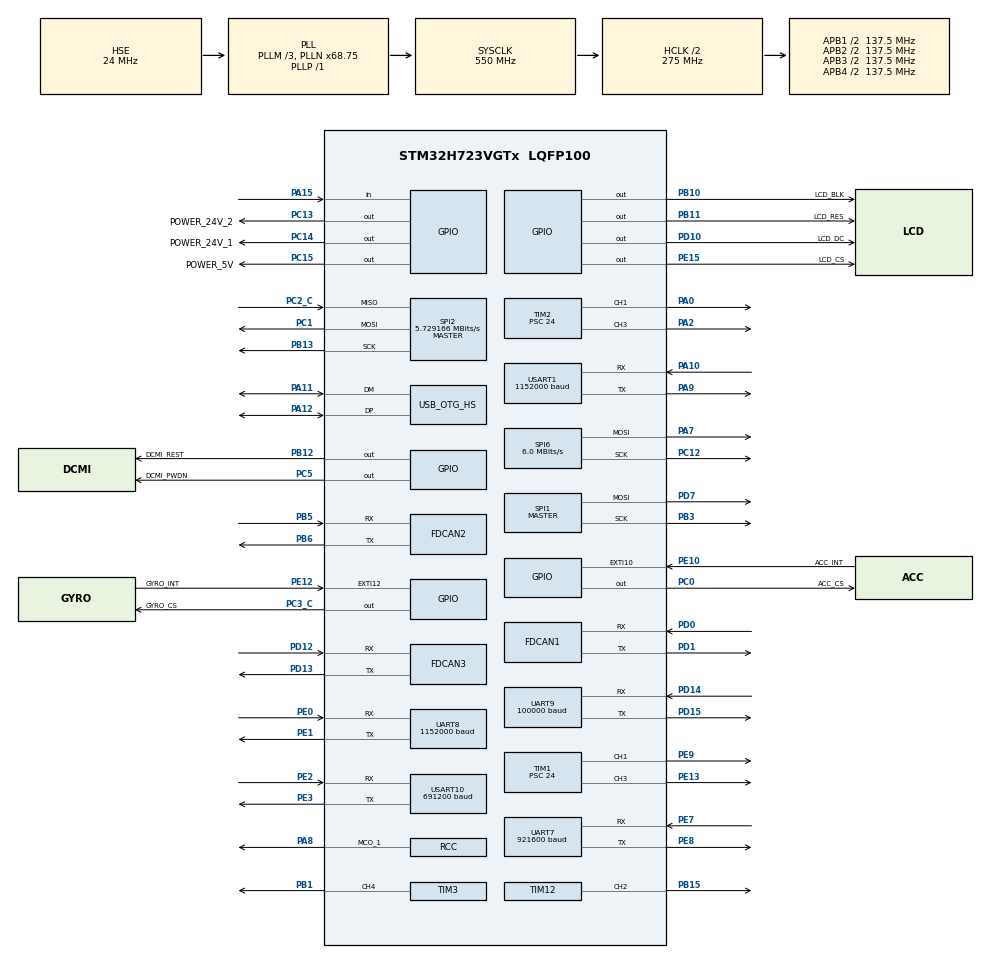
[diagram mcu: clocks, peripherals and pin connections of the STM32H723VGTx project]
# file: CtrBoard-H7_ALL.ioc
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CORTEX_M7.CPU_DCache=Enabled
CORTEX_M7.CPU_ICache=Enabled
Dma.Request0=UART7_TX
Dma.Request1=UART7_RX
Dma.Request2=USART1_RX
Dma.Request3=USART1_TX
Dma.Request4=UART9_RX
Dma.Request5=UART8_RX
Dma.Request6=UART8_TX
Dma.Request7=USART10_RX
Dma.Request8=USART10_TX
Dma.UART7_RX.1.Direction=DMA_PERIPH_TO_MEMORY
Dma.UART7_RX.1.EventEnable=DISABLE
Dma.UART7_RX.1.FIFOMode=DMA_FIFOMODE_DISABLE
Dma.UART7_RX.1.Instance=DMA1_Stream2
Dma.UART7_RX.1.MemDataAlignment=DMA_MDATAALIGN_BYTE
Dma.UART7_RX.1.MemInc=DMA_MINC_ENABLE
Dma.UART7_RX.1.Mode=DMA_CIRCULAR
Dma.UART7_RX.1.PeriphDataAlignment=DMA_PDATAALIGN_BYTE
Dma.UART7_RX.1.PeriphInc=DMA_PINC_DISABLE
Dma.UART7_RX.1.Polarity=HAL_DMAMUX_REQ_GEN_RISING
Dma.UART7_RX.1.Priority=DMA_PRIORITY_LOW
Dma.UART7_RX.1.RequestNumber=1
Dma.UART7_RX.1.SignalID=NONE
Dma.UART7_RX.1.SyncEnable=DISABLE
Dma.UART7_RX.1.SyncPolarity=HAL_DMAMUX_SYNC_NO_EVENT
Dma.UART7_RX.1.SyncRequestNumber=1
Dma.UART7_RX.1.SyncSignalID=NONE
Dma.UART7_TX.0.Direction=DMA_MEMORY_TO_PERIPH
Dma.UART7_TX.0.EventEnable=DISABLE
Dma.UART7_TX.0.FIFOMode=DMA_FIFOMODE_DISABLE
Dma.UART7_TX.0.Instance=DMA1_Stream1
Dma.UART7_TX.0.MemDataAlignment=DMA_MDATAALIGN_BYTE
Dma.UART7_TX.0.MemInc=DMA_MINC_ENABLE
Dma.UART7_TX.0.Mode=DMA_CIRCULAR
Dma.UART7_TX.0.PeriphDataAlignment=DMA_PDATAALIGN_BYTE
Dma.UART7_TX.0.PeriphInc=DMA_PINC_DISABLE
Dma.UART7_TX.0.Polarity=HAL_DMAMUX_REQ_GEN_RISING
Dma.UART7_TX.0.Priority=DMA_PRIORITY_LOW
Dma.UART7_TX.0.RequestNumber=1
Dma.UART7_TX.0.SignalID=NONE
Dma.UART7_TX.0.SyncEnable=DISABLE
Dma.UART7_TX.0.SyncPolarity=HAL_DMAMUX_SYNC_NO_EVENT
Dma.UART7_TX.0.SyncRequestNumber=1
Dma.UART7_TX.0.SyncSignalID=NONE
Dma.UART8_RX.5.Direction=DMA_PERIPH_TO_MEMORY
Dma.UART8_RX.5.EventEnable=DISABLE
Dma.UART8_RX.5.FIFOMode=DMA_FIFOMODE_DISABLE
Dma.UART8_RX.5.Instance=DMA1_Stream5
Dma.UART8_RX.5.MemDataAlignment=DMA_MDATAALIGN_BYTE
Dma.UART8_RX.5.MemInc=DMA_MINC_ENABLE
Dma.UART8_RX.5.Mode=DMA_CIRCULAR
Dma.UART8_RX.5.PeriphDataAlignment=DMA_PDATAALIGN_BYTE
Dma.UART8_RX.5.PeriphInc=DMA_PINC_DISABLE
Dma.UART8_RX.5.Polarity=HAL_DMAMUX_REQ_GEN_RISING
Dma.UART8_RX.5.Priority=DMA_PRIORITY_LOW
Dma.UART8_RX.5.RequestNumber=1
Dma.UART8_RX.5.SignalID=NONE
Dma.UART8_RX.5.SyncEnable=DISABLE
Dma.UART8_RX.5.SyncPolarity=HAL_DMAMUX_SYNC_NO_EVENT
Dma.UART8_RX.5.SyncRequestNumber=1
Dma.UART8_RX.5.SyncSignalID=NONE
Dma.UART8_TX.6.Direction=DMA_MEMORY_TO_PERIPH
Dma.UART8_TX.6.EventEnable=DISABLE
Dma.UART8_TX.6.FIFOMode=DMA_FIFOMODE_DISABLE
Dma.UART8_TX.6.Instance=DMA1_Stream7
Dma.UART8_TX.6.MemDataAlignment=DMA_MDATAALIGN_BYTE
Dma.UART8_TX.6.MemInc=DMA_MINC_ENABLE
Dma.UART8_TX.6.Mode=DMA_NORMAL
Dma.UART8_TX.6.PeriphDataAlignment=DMA_PDATAALIGN_BYTE
Dma.UART8_TX.6.PeriphInc=DMA_PINC_DISABLE
Dma.UART8_TX.6.Polarity=HAL_DMAMUX_REQ_GEN_RISING
Dma.UART8_TX.6.Priority=DMA_PRIORITY_LOW
Dma.UART8_TX.6.RequestNumber=1
Dma.UART8_TX.6.SignalID=NONE
Dma.UART8_TX.6.SyncEnable=DISABLE
Dma.UART8_TX.6.SyncPolarity=HAL_DMAMUX_SYNC_NO_EVENT
Dma.UART8_TX.6.SyncRequestNumber=1
Dma.UART8_TX.6.SyncSignalID=NONE
Dma.UART9_RX.4.Direction=DMA_PERIPH_TO_MEMORY
Dma.UART9_RX.4.EventEnable=DISABLE
Dma.UART9_RX.4.FIFOMode=DMA_FIFOMODE_DISABLE
Dma.UART9_RX.4.Instance=DMA1_Stream4
Dma.UART9_RX.4.MemDataAlignment=DMA_MDATAALIGN_BYTE
Dma.UART9_RX.4.MemInc=DMA_MINC_ENABLE
Dma.UART9_RX.4.Mode=DMA_CIRCULAR
Dma.UART9_RX.4.PeriphDataAlignment=DMA_PDATAALIGN_BYTE
Dma.UART9_RX.4.PeriphInc=DMA_PINC_DISABLE
Dma.UART9_RX.4.Polarity=HAL_DMAMUX_REQ_GEN_RISING
Dma.UART9_RX.4.Priority=DMA_PRIORITY_LOW
Dma.UART9_RX.4.RequestNumber=1
Dma.UART9_RX.4.SignalID=NONE
Dma.UART9_RX.4.SyncEnable=DISABLE
Dma.UART9_RX.4.SyncPolarity=HAL_DMAMUX_SYNC_NO_EVENT
Dma.UART9_RX.4.SyncRequestNumber=1
Dma.UART9_RX.4.SyncSignalID=NONE
Dma.USART10_RX.7.Direction=DMA_PERIPH_TO_MEMORY
Dma.USART10_RX.7.EventEnable=DISABLE
Dma.USART10_RX.7.FIFOMode=DMA_FIFOMODE_DISABLE
Dma.USART10_RX.7.Instance=DMA1_Stream0
Dma.USART10_RX.7.MemDataAlignment=DMA_MDATAALIGN_BYTE
Dma.USART10_RX.7.MemInc=DMA_MINC_ENABLE
Dma.USART10_RX.7.Mode=DMA_CIRCULAR
Dma.USART10_RX.7.PeriphDataAlignment=DMA_PDATAALIGN_BYTE
Dma.USART10_RX.7.PeriphInc=DMA_PINC_DISABLE
Dma.USART10_RX.7.Polarity=HAL_DMAMUX_REQ_GEN_RISING
Dma.USART10_RX.7.Priority=DMA_PRIORITY_LOW
Dma.USART10_RX.7.RequestNumber=1
Dma.USART10_RX.7.SignalID=NONE
Dma.USART10_RX.7.SyncEnable=DISABLE
Dma.USART10_RX.7.SyncPolarity=HAL_DMAMUX_SYNC_NO_EVENT
Dma.USART10_RX.7.SyncRequestNumber=1
Dma.USART10_RX.7.SyncSignalID=NONE
Dma.USART10_TX.8.Direction=DMA_MEMORY_TO_PERIPH
Dma.USART10_TX.8.EventEnable=DISABLE
Dma.USART10_TX.8.FIFOMode=DMA_FIFOMODE_DISABLE
Dma.USART10_TX.8.Instance=DMA2_Stream0
Dma.USART10_TX.8.MemDataAlignment=DMA_MDATAALIGN_BYTE
Dma.USART10_TX.8.MemInc=DMA_MINC_ENABLE
Dma.USART10_TX.8.Mode=DMA_NORMAL
Dma.USART10_TX.8.PeriphDataAlignment=DMA_PDATAALIGN_BYTE
Dma.USART10_TX.8.PeriphInc=DMA_PINC_DISABLE
Dma.USART10_TX.8.Polarity=HAL_DMAMUX_REQ_GEN_RISING
Dma.USART10_TX.8.Priority=DMA_PRIORITY_LOW
Dma.USART10_TX.8.RequestNumber=1
Dma.USART10_TX.8.SignalID=NONE
Dma.USART10_TX.8.SyncEnable=DISABLE
Dma.USART10_TX.8.SyncPolarity=HAL_DMAMUX_SYNC_NO_EVENT
Dma.USART10_TX.8.SyncRequestNumber=1
Dma.USART10_TX.8.SyncSignalID=NONE
Dma.USART1_RX.2.Direction=DMA_PERIPH_TO_MEMORY
Dma.USART1_RX.2.EventEnable=DISABLE
Dma.USART1_RX.2.FIFOMode=DMA_FIFOMODE_DISABLE
Dma.USART1_RX.2.Instance=DMA1_Stream3
Dma.USART1_RX.2.MemDataAlignment=DMA_MDATAALIGN_BYTE
Dma.USART1_RX.2.MemInc=DMA_MINC_ENABLE
Dma.USART1_RX.2.Mode=DMA_CIRCULAR
Dma.USART1_RX.2.PeriphDataAlignment=DMA_PDATAALIGN_BYTE
Dma.USART1_RX.2.PeriphInc=DMA_PINC_DISABLE
Dma.USART1_RX.2.Polarity=HAL_DMAMUX_REQ_GEN_RISING
Dma.USART1_RX.2.Priority=DMA_PRIORITY_LOW
Dma.USART1_RX.2.RequestNumber=1
Dma.USART1_RX.2.SignalID=NONE
Dma.USART1_RX.2.SyncEnable=DISABLE
Dma.USART1_RX.2.SyncPolarity=HAL_DMAMUX_SYNC_NO_EVENT
Dma.USART1_RX.2.SyncRequestNumber=1
Dma.USART1_RX.2.SyncSignalID=NONE
Dma.USART1_TX.3.Direction=DMA_MEMORY_TO_PERIPH
Dma.USART1_TX.3.EventEnable=DISABLE
Dma.USART1_TX.3.FIFOMode=DMA_FIFOMODE_DISABLE
Dma.USART1_TX.3.Instance=DMA1_Stream6
Dma.USART1_TX.3.MemDataAlignment=DMA_MDATAALIGN_BYTE
Dma.USART1_TX.3.MemInc=DMA_MINC_ENABLE
Dma.USART1_TX.3.Mode=DMA_NORMAL
Dma.USART1_TX.3.PeriphDataAlignment=DMA_PDATAALIGN_BYTE
Dma.USART1_TX.3.PeriphInc=DMA_PINC_DISABLE
Dma.USART1_TX.3.Polarity=HAL_DMAMUX_REQ_GEN_RISING
Dma.USART1_TX.3.Priority=DMA_PRIORITY_LOW
Dma.USART1_TX.3.RequestNumber=1
Dma.USART1_TX.3.SignalID=NONE
Dma.USART1_TX.3.SyncEnable=DISABLE
Dma.USART1_TX.3.SyncPolarity=HAL_DMAMUX_SYNC_NO_EVENT
Dma.USART1_TX.3.SyncRequestNumber=1
Dma.USART1_TX.3.SyncSignalID=NONE
FDCAN1.AutoRetransmission=ENABLE
FDCAN1.CalculateBaudRateNominal=1000000
FDCAN1.CalculateTimeBitNominal=1000
FDCAN1.CalculateTimeQuantumNominal=125.0
FDCAN1.DataPrescaler=3
FDCAN1.DataTimeSeg1=5
FDCAN1.DataTimeSeg2=2
FDCAN1.FrameFormat=FDCAN_FRAME_FD_BRS
FDCAN1.NominalPrescaler=3
FDCAN1.NominalTimeSeg1=5
FDCAN1.NominalTimeSeg2=2
FDCAN1.RxFifo0ElmtsNbr=32
FDCAN1.StdFiltersNbr=1
FDCAN1.TransmitPause=DISABLE
FDCAN1.TxFifoQueueElmtsNbr=32
FDCAN2.AutoRetransmission=ENABLE
FDCAN2.CalculateBaudRateNominal=1000000
FDCAN2.CalculateTimeBitNominal=1000
FDCAN2.CalculateTimeQuantumNominal=125.0
FDCAN2.DataPrescaler=3
FDCAN2.DataTimeSeg1=5
FDCAN2.DataTimeSeg2=2
FDCAN2.MessageRAMOffset=0x406
FDCAN2.NominalPrescaler=3
FDCAN2.NominalTimeSeg1=5
FDCAN2.NominalTimeSeg2=2
FDCAN2.RxFifo0ElmtsNbr=32
FDCAN2.StdFiltersNbr=1
FDCAN2.TxFifoQueueElmtsNbr=32
FDCAN3.AutoRetransmission=ENABLE
FDCAN3.CalculateBaudRateNominal=1000000
FDCAN3.CalculateTimeBitNominal=1000
FDCAN3.CalculateTimeQuantumNominal=125.0
FDCAN3.DataPrescaler=3
FDCAN3.DataTimeSeg1=5
FDCAN3.DataTimeSeg2=2
FDCAN3.FrameFormat=FDCAN_FRAME_CLASSIC
FDCAN3.MessageRAMOffset=0x812
FDCAN3.NominalPrescaler=3
FDCAN3.NominalTimeSeg1=5
FDCAN3.NominalTimeSeg2=2
FDCAN3.RxFifo0ElmtsNbr=32
FDCAN3.StdFiltersNbr=1
FDCAN3.TxFifoQueueElmtsNbr=32
FREERTOS.INCLUDE_eTaskGetState=1
FREERTOS.INCLUDE_pcTaskGetTaskName=1
FREERTOS.INCLUDE_uxTaskGetStackHighWaterMark=1
FREERTOS.INCLUDE_uxTaskGetStackHighWaterMark2=1
FREERTOS.INCLUDE_vTaskCleanUpResources=1
FREERTOS.INCLUDE_vTaskDelayUntil=1
FREERTOS.INCLUDE_xQueueGetMutexHolder=1
FREERTOS.INCLUDE_xSemaphoreGetMutexHolder=1
FREERTOS.INCLUDE_xTaskAbortDelay=1
FREERTOS.INCLUDE_xTaskGetCurrentTaskHandle=1
FREERTOS.INCLUDE_xTaskGetHandle=1
FREERTOS.INCLUDE_xTimerPendFunctionCall=1
FREERTOS.Tasks01=defaultTask,0,512,StartDefaultTask,Default,NULL,Dynamic,NULL,NULL;commTask,1,512,commTask_Entry,Default,NULL,Dynamic,NULL,NULL;imuTask,2,512,imuTask_Entry,Default,NULL,Dynamic,NULL,NULL;policyTask,2,2048,policyTask_Entry,Default,NULL,Dynamic,NULL,NULL;actuationTask,3,1024,actuationTask_Entry,Default,NULL,Dynamic,NULL,NULL
FREERTOS.configENABLE_FPU=1
FREERTOS.configTIMER_TASK_PRIORITY=2
FREERTOS.configTOTAL_HEAP_SIZE=30720
FREERTOS.configUSE_COUNTING_SEMAPHORES=1
FREERTOS.configUSE_RECURSIVE_MUTEXES=1
FREERTOS.configUSE_TIMERS=1
FREERTOS.configUSE_TRACE_FACILITY=0
Mcu.Family=STM32H7
Mcu.Name=STM32H723VGTx
Mcu.Package=LQFP100
NVIC.DMA1_Stream0_IRQn=true\:5\:0\:false\:false\:true\:true\:false\:true\:true
NVIC.DMA1_Stream1_IRQn=true\:5\:0\:false\:false\:true\:true\:false\:true\:true
NVIC.DMA1_Stream2_IRQn=true\:5\:0\:false\:false\:true\:true\:false\:true\:true
NVIC.DMA1_Stream3_IRQn=true\:5\:0\:false\:false\:true\:true\:false\:true\:true
NVIC.DMA1_Stream4_IRQn=true\:5\:0\:false\:false\:true\:true\:false\:true\:true
NVIC.DMA1_Stream5_IRQn=true\:5\:0\:false\:false\:true\:true\:false\:true\:true
NVIC.DMA1_Stream6_IRQn=true\:5\:0\:false\:false\:true\:true\:false\:true\:true
NVIC.DMA1_Stream7_IRQn=true\:5\:0\:false\:false\:true\:true\:false\:true\:true
NVIC.DMA2_Stream0_IRQn=true\:5\:0\:false\:false\:true\:true\:false\:true\:true
NVIC.FDCAN1_IT0_IRQn=true\:5\:0\:false\:false\:true\:true\:true\:true\:true
NVIC.FDCAN1_IT1_IRQn=true\:5\:0\:false\:false\:true\:true\:true\:true\:true
NVIC.FDCAN2_IT0_IRQn=true\:5\:0\:false\:false\:true\:true\:true\:true\:true
NVIC.FDCAN2_IT1_IRQn=true\:5\:0\:false\:false\:true\:true\:true\:true\:true
NVIC.FDCAN3_IT0_IRQn=true\:5\:0\:false\:false\:true\:true\:true\:true\:true
NVIC.FDCAN3_IT1_IRQn=true\:5\:0\:false\:false\:true\:true\:true\:true\:true
NVIC.OTG_HS_IRQn=true\:5\:0\:false\:false\:true\:true\:false\:true\:true
NVIC.PriorityGroup=NVIC_PRIORITYGROUP_4
NVIC.TIM23_IRQn=true\:15\:0\:false\:false\:true\:false\:false\:true\:true
NVIC.TIM6_DAC_IRQn=true\:5\:0\:false\:false\:true\:true\:true\:true\:true
NVIC.TimeBase=TIM23_IRQn
NVIC.TimeBaseIP=TIM23
NVIC.UART7_IRQn=true\:5\:0\:true\:false\:true\:false\:true\:true\:true
NVIC.UART8_IRQn=true\:5\:0\:false\:false\:true\:true\:true\:true\:true
NVIC.UART9_IRQn=true\:5\:0\:false\:false\:true\:true\:true\:true\:true
NVIC.USART10_IRQn=true\:5\:0\:false\:false\:true\:true\:true\:true\:true
NVIC.USART1_IRQn=true\:5\:0\:true\:false\:true\:false\:true\:true\:true
PA0.Signal=S_TIM2_CH1_ETR
PA10.Mode=Asynchronous
PA10.Signal=USART1_RX
PA11.Mode=Device_Only_FS
PA11.Signal=USB_OTG_HS_DM
PA12.Mode=Device_Only_FS
PA12.Signal=USB_OTG_HS_DP
PA13(JTMS/SWDIO).Mode=Serial_Wire
PA13(JTMS/SWDIO).Signal=DEBUG_JTMS-SWDIO
PA14(JTCK/SWCLK).Mode=Serial_Wire
PA14(JTCK/SWCLK).Signal=DEBUG_JTCK-SWCLK
PA15(JTDI).Signal=GPIO_Input
PA2.Signal=S_TIM2_CH3
PA7.Mode=TX_Only_Simplex_Unidirect_Master
PA7.Signal=SPI6_MOSI
PA8.Mode=Clock-out-1
PA8.Signal=RCC_MCO_1
PA9.Mode=Asynchronous
PA9.Signal=USART1_TX
PB1.Signal=S_TIM3_CH4
PB10.GPIO_Label=LCD_BLK
PB10.Signal=GPIO_Output
PB11.GPIO_Label=LCD_RES
PB11.Signal=GPIO_Output
PB12.GPIO_Label=DCMI_REST
PB12.GPIO_PuPd=GPIO_PULLUP
PB12.GPIO_Speed=GPIO_SPEED_FREQ_VERY_HIGH
PB12.PinState=GPIO_PIN_SET
PB12.Signal=GPIO_Output
PB13.GPIO_Speed=GPIO_SPEED_FREQ_VERY_HIGH
PB13.Mode=Full_Duplex_Master
PB13.Signal=SPI2_SCK
PB15.Signal=S_TIM12_CH2
PB3(JTDO/TRACESWO).GPIO_Speed=GPIO_SPEED_FREQ_VERY_HIGH
PB3(JTDO/TRACESWO).Mode=TX_Only_Simplex_Unidirect_Master
PB3(JTDO/TRACESWO).Signal=SPI1_SCK
PB5.Mode=FDCAN_Activate
PB5.Signal=FDCAN2_RX
PB6.Mode=FDCAN_Activate
PB6.Signal=FDCAN2_TX
PC0.GPIO_Label=ACC_CS
PC0.GPIO_Speed=GPIO_SPEED_FREQ_VERY_HIGH
PC0.PinState=GPIO_PIN_SET
PC0.Signal=GPIO_Output
PC1.GPIO_Speed=GPIO_SPEED_FREQ_VERY_HIGH
PC1.Mode=Full_Duplex_Master
PC1.Signal=SPI2_MOSI
PC12.Mode=TX_Only_Simplex_Unidirect_Master
PC12.Signal=SPI6_SCK
PC13.GPIO_Label=POWER_24V_2
PC13.PinState=GPIO_PIN_SET
PC13.Signal=GPIO_Output
PC14-OSC32_IN.GPIO_Label=POWER_24V_1
PC14-OSC32_IN.PinState=GPIO_PIN_SET
PC14-OSC32_IN.Signal=GPIO_Output
PC15-OSC32_OUT.GPIO_Label=POWER_5V
PC15-OSC32_OUT.PinState=GPIO_PIN_SET
PC15-OSC32_OUT.Signal=GPIO_Output
PC2_C.GPIO_Speed=GPIO_SPEED_FREQ_VERY_HIGH
PC2_C.Mode=Full_Duplex_Master
PC2_C.Signal=SPI2_MISO
PC3_C.GPIO_Label=GYRO_CS
PC3_C.GPIO_Speed=GPIO_SPEED_FREQ_VERY_HIGH
PC3_C.PinState=GPIO_PIN_SET
PC3_C.Signal=GPIO_Output
PC5.GPIO_Label=DCMI_PWDN
PC5.GPIO_PuPd=GPIO_NOPULL
PC5.GPIO_Speed=GPIO_SPEED_FREQ_VERY_HIGH
PC5.PinState=GPIO_PIN_SET
PC5.Signal=GPIO_Output
PD0.Mode=FDCAN_Activate
PD0.Signal=FDCAN1_RX
PD1.Mode=FDCAN_Activate
PD1.Signal=FDCAN1_TX
PD10.GPIO_Label=LCD_DC
PD10.Signal=GPIO_Output
PD12.Mode=FDCAN_Activate
PD12.Signal=FDCAN3_RX
PD13.Mode=FDCAN_Activate
PD13.Signal=FDCAN3_TX
PD14.Mode=Asynchronous
PD14.Signal=UART9_RX
PD15.Mode=Asynchronous
PD15.Signal=UART9_TX
PD7.GPIO_Speed=GPIO_SPEED_FREQ_VERY_HIGH
PD7.Mode=TX_Only_Simplex_Unidirect_Master
PD7.Signal=SPI1_MOSI
PE0.Mode=Asynchronous
PE0.Signal=UART8_RX
PE1.Mode=Asynchronous
PE1.Signal=UART8_TX
PE10.GPIO_Label=ACC_INT
PE10.Signal=GPXTI10
PE12.GPIO_Label=GYRO_INT
PE12.Signal=GPXTI12
PE13.Signal=S_TIM1_CH3
PE15.GPIO_Label=LCD_CS
PE15.Signal=GPIO_Output
PE2.Mode=Asynchronous
PE2.Signal=USART10_RX
PE3.Mode=Asynchronous
PE3.Signal=USART10_TX
PE7.Mode=Asynchronous
PE7.Signal=UART7_RX
PE8.Mode=Asynchronous
PE8.Signal=UART7_TX
PE9.Signal=S_TIM1_CH1
PH0-OSC_IN.Mode=HSE-External-Oscillator
PH0-OSC_IN.Signal=RCC_OSC_IN
PH1-OSC_OUT.Mode=HSE-External-Oscillator
PH1-OSC_OUT.Signal=RCC_OSC_OUT
ProjectManager.HeapSize=0x800
ProjectManager.StackSize=0x800
ProjectManager.TargetToolchain=MDK-ARM V5.27
RCC.ADCFreq_Value=96000000
RCC.APB1Freq_Value=137500000
RCC.APB2Freq_Value=137500000
RCC.APB3Freq_Value=137500000
RCC.APB4Freq_Value=137500000
RCC.CortexFreq_Value=550000000
RCC.D1PPRE=RCC_APB3_DIV2
RCC.D2PPRE1=RCC_APB1_DIV2
RCC.D2PPRE2=RCC_APB2_DIV2
RCC.D3PPRE=RCC_APB4_DIV2
RCC.DIVM1=3
RCC.DIVM2=2
RCC.DIVN1=68
RCC.DIVN2=16
RCC.DIVP1=1
RCC.DIVQ1=3
RCC.EnbaleCSS=false
RCC.FDCANCLockSelection=RCC_FDCANCLKSOURCE_HSE
RCC.HCLKFreq_Value=275000000
RCC.HPRE=RCC_HCLK_DIV2
RCC.HSE_VALUE=24000000
RCC.PLL2FRACN=0
RCC.PLL2_VCI_Range-AdvancedSettings=RCC_PLL2VCIRANGE_0
RCC.PLL2_VCO_SEL-AdvancedSettings=RCC_PLL2VCOWIDE
RCC.PLL3FRACN=0
RCC.PLL3_VCO_SEL-AdvancedSettings=RCC_PLL3VCOMEDIUM
RCC.PLLFRACN=6144
RCC.PLLSourceVirtual=RCC_PLLSOURCE_HSE
RCC.SPI6CLockSelection=RCC_SPI6CLKSOURCE_HSE
RCC.SYSCLKFreq_VALUE=550000000
RCC.SYSCLKSource=RCC_SYSCLKSOURCE_PLLCLK
RCC.USBCLockSelection=RCC_USBCLKSOURCE_HSI48
RCC.USBFreq_Value=48000000
SH.S_TIM12_CH2.0=TIM12_CH2,PWM Generation2 CH2
SH.S_TIM1_CH1.0=TIM1_CH1,PWM Generation1 CH1
SH.S_TIM1_CH3.0=TIM1_CH3,PWM Generation3 CH3
SH.S_TIM2_CH1_ETR.0=TIM2_CH1,PWM Generation1 CH1
SH.S_TIM2_CH3.0=TIM2_CH3,PWM Generation3 CH3
SH.S_TIM3_CH4.0=TIM3_CH4,PWM Generation4 CH4
SPI1.BaudRatePrescaler=SPI_BAUDRATEPRESCALER_4
SPI1.CLKPolarity=SPI_POLARITY_HIGH
SPI1.CalculateBaudRate=45.833332 MBits/s
SPI1.DataSize=SPI_DATASIZE_8BIT
SPI1.Direction=SPI_DIRECTION_2LINES_TXONLY
SPI1.Mode=SPI_MODE_MASTER
SPI1.VirtualType=VM_MASTER
SPI2.BaudRatePrescaler=SPI_BAUDRATEPRESCALER_32
SPI2.CLKPhase=SPI_PHASE_2EDGE
SPI2.CLKPolarity=SPI_POLARITY_HIGH
SPI2.CalculateBaudRate=5.729166 MBits/s
SPI2.DataSize=SPI_DATASIZE_8BIT
SPI2.Direction=SPI_DIRECTION_2LINES
SPI2.Mode=SPI_MODE_MASTER
SPI2.VirtualType=VM_MASTER
SPI6.BaudRatePrescaler=SPI_BAUDRATEPRESCALER_4
SPI6.CLKPhase=SPI_PHASE_2EDGE
SPI6.CalculateBaudRate=6.0 MBits/s
SPI6.DataSize=SPI_DATASIZE_8BIT
SPI6.Direction=SPI_DIRECTION_2LINES_TXONLY
SPI6.Mode=SPI_MODE_MASTER
SPI6.VirtualType=VM_MASTER
STMicroelectronics.X-CUBE-AI.10.2.0.ActivationBufferSizeList=5044
STMicroelectronics.X-CUBE-AI.10.2.0.ActivationBuffers=pool0
STMicroelectronics.X-CUBE-AI.10.2.0.ActivationNames=pool0
STMicroelectronics.X-CUBE-AI.10.2.0.ActivationSizes=AI_NETWORKZN1_DATA_ACTIVATION_1_SIZE
STMicroelectronics.X-CUBE-AI.10.2.0.HeapSize=0x800
STMicroelectronics.X-CUBE-AI.10.2.0.InternalRamActivationBufferMaxSize=AI_NETWORKZN1_DATA_ACTIVATIONS_SIZE
STMicroelectronics.X-CUBE-AI.10.2.0.LatestDirectoryUsed-0f0e31d31f1e26a50c250fff853ff63904772c2039f2d0c569fd44311027b14e=C\:\\Users\\ynz\\Desktop\\zzzzzzzz\\0~0Hal_zzzz\\h723(DM_Borad)\\XYEGA_RM2026_WheelLeg_Infatry_RLdeploy-main\\pseudocode\\example\\onnx\\stable
STMicroelectronics.X-CUBE-AI.10.2.0.LatestDirectoryUsed-301daaeec0ac2cc533a16046af03d4ca865ba729386ae4017f9544c442a11d9b=C\:\\Users\\ynz\\Desktop
STMicroelectronics.X-CUBE-AI.10.2.0.LatestDirectoryUsed-4e3019861dd4673e1fc7d22039481e5629420e96bbde0999b446c887c9c844ae=C\:\\Users\\ynz\\Desktop\\zzzzzzzz\\0~0Hal_zzzz\\h723(DM_Borad)\\XYEGA_RM2026_WheelLeg_Infatry_RLdeploy-main\\pseudocode\\example\\onnx\\upstairs
STMicroelectronics.X-CUBE-AI.10.2.0.LatestDirectoryUsed-7975124662dd4425522c2c34e8f1622b51e5c35ca2b3422b2313b540a5ef6493=C\:\\Users\\ynz\\Desktop\\zzzzzzzz\\0~0Hal_zzzz\\h723(DM_Borad)\\XYEGA_RM2026_WheelLeg_Infatry_RLdeploy-main\\pseudocode\\example\\onnx\\upstairs
STMicroelectronics.X-CUBE-AI.10.2.0.MaximumNumberOfInputLayer=2
STMicroelectronics.X-CUBE-AI.10.2.0.MaximumNumberOfOutputLayer=1
STMicroelectronics.X-CUBE-AI.10.2.0.MaximumSizeOfInputLayer=1,1
STMicroelectronics.X-CUBE-AI.10.2.0.MaximumSizeOfOutputLayer=1
STMicroelectronics.X-CUBE-AI.10.2.0.ModelActualCompression-0f0e31d31f1e26a50c250fff853ff63904772c2039f2d0c569fd44311027b14e=0.0
STMicroelectronics.X-CUBE-AI.10.2.0.ModelActualCompression-301daaeec0ac2cc533a16046af03d4ca865ba729386ae4017f9544c442a11d9b=0.0
STMicroelectronics.X-CUBE-AI.10.2.0.ModelActualCompression-4e3019861dd4673e1fc7d22039481e5629420e96bbde0999b446c887c9c844ae=0.0
STMicroelectronics.X-CUBE-AI.10.2.0.ModelActualCompression-7975124662dd4425522c2c34e8f1622b51e5c35ca2b3422b2313b540a5ef6493=0.0
STMicroelectronics.X-CUBE-AI.10.2.0.ModelCompression-0f0e31d31f1e26a50c250fff853ff63904772c2039f2d0c569fd44311027b14e=None
STMicroelectronics.X-CUBE-AI.10.2.0.ModelCompression-301daaeec0ac2cc533a16046af03d4ca865ba729386ae4017f9544c442a11d9b=None
STMicroelectronics.X-CUBE-AI.10.2.0.ModelCompression-4e3019861dd4673e1fc7d22039481e5629420e96bbde0999b446c887c9c844ae=None
STMicroelectronics.X-CUBE-AI.10.2.0.ModelCompression-7975124662dd4425522c2c34e8f1622b51e5c35ca2b3422b2313b540a5ef6493=None
STMicroelectronics.X-CUBE-AI.10.2.0.ModelFlashOccupation-0f0e31d31f1e26a50c250fff853ff63904772c2039f2d0c569fd44311027b14e=169708
STMicroelectronics.X-CUBE-AI.10.2.0.ModelFlashOccupation-301daaeec0ac2cc533a16046af03d4ca865ba729386ae4017f9544c442a11d9b=169708
STMicroelectronics.X-CUBE-AI.10.2.0.ModelFlashOccupation-4e3019861dd4673e1fc7d22039481e5629420e96bbde0999b446c887c9c844ae=169708
STMicroelectronics.X-CUBE-AI.10.2.0.ModelFlashOccupation-7975124662dd4425522c2c34e8f1622b51e5c35ca2b3422b2313b540a5ef6493=169708
STMicroelectronics.X-CUBE-AI.10.2.0.ModelHashList=301daaeec0ac2cc533a16046af03d4ca865ba729386ae4017f9544c442a11d9b
STMicroelectronics.X-CUBE-AI.10.2.0.ModelKind-0f0e31d31f1e26a50c250fff853ff63904772c2039f2d0c569fd44311027b14e=ONNX
STMicroelectronics.X-CUBE-AI.10.2.0.ModelKind-301daaeec0ac2cc533a16046af03d4ca865ba729386ae4017f9544c442a11d9b=ONNX
STMicroelectronics.X-CUBE-AI.10.2.0.ModelKind-4e3019861dd4673e1fc7d22039481e5629420e96bbde0999b446c887c9c844ae=ONNX
STMicroelectronics.X-CUBE-AI.10.2.0.ModelKind-7975124662dd4425522c2c34e8f1622b51e5c35ca2b3422b2313b540a5ef6493=ONNX
STMicroelectronics.X-CUBE-AI.10.2.0.ModelMacc-0f0e31d31f1e26a50c250fff853ff63904772c2039f2d0c569fd44311027b14e=43401
STMicroelectronics.X-CUBE-AI.10.2.0.ModelMacc-301daaeec0ac2cc533a16046af03d4ca865ba729386ae4017f9544c442a11d9b=43401
STMicroelectronics.X-CUBE-AI.10.2.0.ModelMacc-4e3019861dd4673e1fc7d22039481e5629420e96bbde0999b446c887c9c844ae=43401
STMicroelectronics.X-CUBE-AI.10.2.0.ModelMacc-7975124662dd4425522c2c34e8f1622b51e5c35ca2b3422b2313b540a5ef6493=43401
STMicroelectronics.X-CUBE-AI.10.2.0.ModelName-0f0e31d31f1e26a50c250fff853ff63904772c2039f2d0c569fd44311027b14e=stable
STMicroelectronics.X-CUBE-AI.10.2.0.ModelName-301daaeec0ac2cc533a16046af03d4ca865ba729386ae4017f9544c442a11d9b=networkzn1
STMicroelectronics.X-CUBE-AI.10.2.0.ModelName-4e3019861dd4673e1fc7d22039481e5629420e96bbde0999b446c887c9c844ae=upstairs
STMicroelectronics.X-CUBE-AI.10.2.0.ModelName-7975124662dd4425522c2c34e8f1622b51e5c35ca2b3422b2313b540a5ef6493=upstairs
STMicroelectronics.X-CUBE-AI.10.2.0.ModelNameList=networkzn1
STMicroelectronics.X-CUBE-AI.10.2.0.ModelRamOccupation-0f0e31d31f1e26a50c250fff853ff63904772c2039f2d0c569fd44311027b14e=5044
STMicroelectronics.X-CUBE-AI.10.2.0.ModelRamOccupation-301daaeec0ac2cc533a16046af03d4ca865ba729386ae4017f9544c442a11d9b=5044
STMicroelectronics.X-CUBE-AI.10.2.0.ModelRamOccupation-4e3019861dd4673e1fc7d22039481e5629420e96bbde0999b446c887c9c844ae=5044
STMicroelectronics.X-CUBE-AI.10.2.0.ModelRamOccupation-7975124662dd4425522c2c34e8f1622b51e5c35ca2b3422b2313b540a5ef6493=5044
STMicroelectronics.X-CUBE-AI.10.2.0.ModelStructureFile-0f0e31d31f1e26a50c250fff853ff63904772c2039f2d0c569fd44311027b14e=C\:\\Users\\ynz\\Desktop\\zzzzzzzz\\0~0Hal_zzzz\\h723(DM_Borad)\\XYEGA_RM2026_WheelLeg_Infatry_RLdeploy-main\\pseudocode\\example\\onnx\\stable\\stable_pos0.23_0.65_p15.0_d1.0_0.1.onnx
STMicroelectronics.X-CUBE-AI.10.2.0.ModelStructureFile-301daaeec0ac2cc533a16046af03d4ca865ba729386ae4017f9544c442a11d9b=C\:\\Users\\ynz\\Desktop\\policy.onnx
STMicroelectronics.X-CUBE-AI.10.2.0.ModelStructureFile-4e3019861dd4673e1fc7d22039481e5629420e96bbde0999b446c887c9c844ae=C\:\\Users\\ynz\\Desktop\\zzzzzzzz\\0~0Hal_zzzz\\h723(DM_Borad)\\XYEGA_RM2026_WheelLeg_Infatry_RLdeploy-main\\pseudocode\\example\\onnx\\upstairs\\upstairs_pos0.23_0.65_p15.0_d1.0_0.1.onnx
STMicroelectronics.X-CUBE-AI.10.2.0.ModelStructureFile-7975124662dd4425522c2c34e8f1622b51e5c35ca2b3422b2313b540a5ef6493=C\:\\Users\\ynz\\Desktop\\zzzzzzzz\\0~0Hal_zzzz\\h723(DM_Borad)\\XYEGA_RM2026_WheelLeg_Infatry_RLdeploy-main\\pseudocode\\example\\onnx\\upstairs\\upstairs_pos0.23_0.65_p15.0_d1.0_0.1.onnx
STMicroelectronics.X-CUBE-AI.10.2.0.ModelType-0f0e31d31f1e26a50c250fff853ff63904772c2039f2d0c569fd44311027b14e=STM32Cube.AI MCU runtime
STMicroelectronics.X-CUBE-AI.10.2.0.ModelType-301daaeec0ac2cc533a16046af03d4ca865ba729386ae4017f9544c442a11d9b=STM32Cube.AI MCU runtime
STMicroelectronics.X-CUBE-AI.10.2.0.ModelType-4e3019861dd4673e1fc7d22039481e5629420e96bbde0999b446c887c9c844ae=STM32Cube.AI MCU runtime
STMicroelectronics.X-CUBE-AI.10.2.0.ModelType-7975124662dd4425522c2c34e8f1622b51e5c35ca2b3422b2313b540a5ef6493=STM32Cube.AI MCU runtime
STMicroelectronics.X-CUBE-AI.10.2.0.ReadyForCodeGeneration=true
STMicroelectronics.X-CUBE-AI.10.2.0.StackSize=0x800
STMicroelectronics.X-CUBE-AI.10.2.0.WorkingBufferStartAddrList=0xFFFFFFFF
STMicroelectronics.X-CUBE-AI.10.2.0.XAaCUBEAaAICcArtificialOoIntelligenceJjCore=true
STMicroelectronics.X-CUBE-AI.10.2.0.copyWeightToRam=false
STMicroelectronics.X-CUBE-AI.10.2.0.copyWeightToRam-0f0e31d31f1e26a50c250fff853ff63904772c2039f2d0c569fd44311027b14e=false
STMicroelectronics.X-CUBE-AI.10.2.0.copyWeightToRam-301daaeec0ac2cc533a16046af03d4ca865ba729386ae4017f9544c442a11d9b=false
STMicroelectronics.X-CUBE-AI.10.2.0.copyWeightToRam-4e3019861dd4673e1fc7d22039481e5629420e96bbde0999b446c887c9c844ae=false
STMicroelectronics.X-CUBE-AI.10.2.0.copyWeightToRam-7975124662dd4425522c2c34e8f1622b51e5c35ca2b3422b2313b540a5ef6493=false
STMicroelectronics.X-CUBE-AI.10.2.0.customLayerConfigEnabled=false
STMicroelectronics.X-CUBE-AI.10.2.0.customLayerConfigEnabled-0f0e31d31f1e26a50c250fff853ff63904772c2039f2d0c569fd44311027b14e=false
STMicroelectronics.X-CUBE-AI.10.2.0.customLayerConfigEnabled-301daaeec0ac2cc533a16046af03d4ca865ba729386ae4017f9544c442a11d9b=false
STMicroelectronics.X-CUBE-AI.10.2.0.customLayerConfigEnabled-4e3019861dd4673e1fc7d22039481e5629420e96bbde0999b446c887c9c844ae=false
STMicroelectronics.X-CUBE-AI.10.2.0.customLayerConfigEnabled-7975124662dd4425522c2c34e8f1622b51e5c35ca2b3422b2313b540a5ef6493=false
STMicroelectronics.X-CUBE-AI.10.2.0.noOnnxIoTranspose=false
STMicroelectronics.X-CUBE-AI.10.2.0.noOnnxIoTranspose-0f0e31d31f1e26a50c250fff853ff63904772c2039f2d0c569fd44311027b14e=false
STMicroelectronics.X-CUBE-AI.10.2.0.noOnnxIoTranspose-301daaeec0ac2cc533a16046af03d4ca865ba729386ae4017f9544c442a11d9b=false
STMicroelectronics.X-CUBE-AI.10.2.0.noOnnxIoTranspose-4e3019861dd4673e1fc7d22039481e5629420e96bbde0999b446c887c9c844ae=false
STMicroelectronics.X-CUBE-AI.10.2.0.noOnnxIoTranspose-7975124662dd4425522c2c34e8f1622b51e5c35ca2b3422b2313b540a5ef6493=false
STMicroelectronics.X-CUBE-AI.10.2.0.optimization=time
STMicroelectronics.X-CUBE-AI.10.2.0.optimization-0f0e31d31f1e26a50c250fff853ff63904772c2039f2d0c569fd44311027b14e=time
STMicroelectronics.X-CUBE-AI.10.2.0.optimization-301daaeec0ac2cc533a16046af03d4ca865ba729386ae4017f9544c442a11d9b=time
STMicroelectronics.X-CUBE-AI.10.2.0.optimization-4e3019861dd4673e1fc7d22039481e5629420e96bbde0999b446c887c9c844ae=time
STMicroelectronics.X-CUBE-AI.10.2.0.useInputAllocation=true
STMicroelectronics.X-CUBE-AI.10.2.0.useInputAllocation-0f0e31d31f1e26a50c250fff853ff63904772c2039f2d0c569fd44311027b14e=true
STMicroelectronics.X-CUBE-AI.10.2.0.useInputAllocation-301daaeec0ac2cc533a16046af03d4ca865ba729386ae4017f9544c442a11d9b=true
STMicroelectronics.X-CUBE-AI.10.2.0.useInputAllocation-4e3019861dd4673e1fc7d22039481e5629420e96bbde0999b446c887c9c844ae=true
STMicroelectronics.X-CUBE-AI.10.2.0.useInputAllocation-7975124662dd4425522c2c34e8f1622b51e5c35ca2b3422b2313b540a5ef6493=true
STMicroelectronics.X-CUBE-AI.10.2.0.useOutputAllocation=true
STMicroelectronics.X-CUBE-AI.10.2.0.useOutputAllocation-0f0e31d31f1e26a50c250fff853ff63904772c2039f2d0c569fd44311027b14e=true
STMicroelectronics.X-CUBE-AI.10.2.0.useOutputAllocation-301daaeec0ac2cc533a16046af03d4ca865ba729386ae4017f9544c442a11d9b=true
STMicroelectronics.X-CUBE-AI.10.2.0.useOutputAllocation-4e3019861dd4673e1fc7d22039481e5629420e96bbde0999b446c887c9c844ae=true
STMicroelectronics.X-CUBE-AI.10.2.0.useOutputAllocation-7975124662dd4425522c2c34e8f1622b51e5c35ca2b3422b2313b540a5ef6493=true
STMicroelectronics.X-CUBE-ALGOBUILD.1.5.0.LibraryCcDSPOoLibraryJjDSPOoLibrary=true
TIM1.Channel-PWM\ Generation1\ CH1=TIM_CHANNEL_1
TIM1.Channel-PWM\ Generation3\ CH3=TIM_CHANNEL_3
TIM1.Period=10000
TIM1.Prescaler=24
TIM1.Pulse-PWM\ Generation1\ CH1=5000
TIM1.Pulse-PWM\ Generation3\ CH3=5000
TIM12.Channel-PWM\ Generation2\ CH2=TIM_CHANNEL_2
TIM12.Period=2000-1
TIM12.Prescaler=24-1
TIM2.Channel-PWM\ Generation1\ CH1=TIM_CHANNEL_1
TIM2.Channel-PWM\ Generation3\ CH3=TIM_CHANNEL_3
TIM2.Period=10000
TIM2.Prescaler=24
TIM2.Pulse-PWM\ Generation1\ CH1=5000
TIM2.Pulse-PWM\ Generation3\ CH3=5000
TIM3.AutoReloadPreload=TIM_AUTORELOAD_PRELOAD_ENABLE
TIM3.Channel-PWM\ Generation4\ CH4=TIM_CHANNEL_4
TIM3.Period=10000-1
TIM3.Prescaler=24-1
TIM6.Period=1999
TIM6.Prescaler=274
UART7.BaudRate=921600
UART8.BaudRate=1152000
UART9.BaudRate=100000
UART9.Parity=PARITY_EVEN
UART9.WordLength=WORDLENGTH_9B
USART1.BaudRate=1152000
USART1.VirtualMode-Asynchronous=VM_ASYNC
USART10.BaudRate=691200
USART10.VirtualMode=VM_ASYNC
USB_DEVICE.CLASS_NAME_HS=CDC
USB_DEVICE.VirtualMode=Cdc
USB_DEVICE.VirtualModeHS=Cdc_HS
USB_OTG_HS.VirtualMode-Device_Only_FS=Device_Only_FS
VP_FREERTOS_VS_CMSIS_V1.Mode=CMSIS_V1
VP_MEMORYMAP_VS_MEMORYMAP.Mode=CurAppReg
VP_STMicroelectronics.X-CUBE-AI_VS_ArtificialOoIntelligenceJjXAaCUBEAaAI_10.2.0.Mode=ArtificialOoIntelligenceJjXAaCUBEAaAI
VP_STMicroelectronics.X-CUBE-ALGOBUILD_VS_DSPOoLibraryJjLibrary_1.5.0_1.5.0.Mode=DSPOoLibraryJjLibrary
VP_SYS_VS_tim23.Mode=TIM23
VP_TIM6_VS_ClockSourceINT.Mode=Enable_Timer
VP_USB_DEVICE_VS_USB_DEVICE_CDC_HS.Mode=CDC_HS
board=custom

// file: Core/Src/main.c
/* USER CODE BEGIN Header */
/*
 * 上电先准备USB专用DMA内存和MPU，再启用缓存、时钟及CubeMX外设。
 * 用户初始化注册遥控/IMU/电机接收链，随后创建RTOS任务并启动调度。
 * TIM6回调维护单调时钟并唤醒执行/策略任务；TIM23维护HAL毫秒时钟。
 */
/**
  ******************************************************************************
  * @file           : main.c
  * @brief          : Main program body
  ******************************************************************************
  * @attention
  *
  * Copyright (c) 2024 STMicroelectronics.
  * All rights reserved.
  *
  * This software is licensed under terms that can be found in the LICENSE file
  * in the root directory of this software component.
  * If no LICENSE file comes with this software, it is provided AS-IS.
  *
  ******************************************************************************
  */
/* USER CODE END Header */
#include "main.h"
#include "cmsis_os.h"
#include "dma.h"
#include "fdcan.h"
#include "spi.h"
#include "tim.h"
#include "usart.h"
#include "usb_device.h"
#include "gpio.h"

/* USER CODE BEGIN Includes */
#include "uart_idle.h"
#include "dr16.h"
#include "can_bus.h"
#include "hi229.h"
#include "Attitude_Algorithm.h"
#include "dji.h"
#include "mono_ns.h"
#include "latency_capture.h"
#include "dm.h"
#include "robot_control.h"
#include "machine_config.h"
#include <stdio.h>
/* USER CODE END Includes */

void SystemClock_Config(void);
void MX_FREERTOS_Init(void);

/* USER CODE BEGIN 0 */
/* GCC启动代码之外的USB专用段：复制Flash初值到RAM并清零BSS；Keil由自身启动流程处理。 */
static void USB_Dma_Memory_Init(void)
{
#if defined(__GNUC__) && !defined(__CC_ARM)
  extern uint32_t _siusb_data, _susb_data, _eusb_data;
  extern uint32_t _susb_bss, _eusb_bss;
  uint32_t *source;
  uint32_t *target;

  source = &_siusb_data;
  target = &_susb_data;
  while (target < &_eusb_data)
  {
    *target++ = *source++;
  }
  target = &_susb_bss;
  while (target < &_eusb_bss)
  {
    *target++ = 0u;
  }
#endif
}

/* 将0x2404C000起16KB USB DMA区域设为不缓存，避免CPU缓存与DMA访问到不同数据。 */
static void USB_Dma_MPU_Config(void)
{
  MPU_Region_InitTypeDef region = {0};

  HAL_MPU_Disable();
  region.Enable = MPU_REGION_ENABLE;
  region.Number = MPU_REGION_NUMBER0;
  region.BaseAddress = 0x2404C000u;
  region.Size = MPU_REGION_SIZE_16KB;
  region.SubRegionDisable = 0u;
  region.TypeExtField = MPU_TEX_LEVEL1;
  region.AccessPermission = MPU_REGION_FULL_ACCESS;
  region.DisableExec = MPU_INSTRUCTION_ACCESS_DISABLE;
  region.IsShareable = MPU_ACCESS_SHAREABLE;
  region.IsCacheable = MPU_ACCESS_NOT_CACHEABLE;
  region.IsBufferable = MPU_ACCESS_NOT_BUFFERABLE;
  HAL_MPU_ConfigRegion(&region);
  HAL_MPU_Enable(MPU_PRIVILEGED_DEFAULT);
}

/* 用当前机器配置覆盖FDCAN数据段时序；这里只改句柄，实际启动/失败恢复由can_bus处理。 */
static void Machine_Apply_Fdcan_Data_Timing(FDCAN_HandleTypeDef *handle)
{
  if (handle->Init.DataPrescaler != MACHINE_FDCAN13_DATA_PRESCALER || handle->Init.DataTimeSeg1 != MACHINE_FDCAN13_DATA_SEG1 || handle->Init.DataTimeSeg2 != MACHINE_FDCAN13_DATA_SEG2)
  {
    handle->Init.DataPrescaler = MACHINE_FDCAN13_DATA_PRESCALER;
    handle->Init.DataTimeSeg1 = MACHINE_FDCAN13_DATA_SEG1;
    handle->Init.DataTimeSeg2 = MACHINE_FDCAN13_DATA_SEG2;
    /* 这里只更新参数，Can_Bus_Init统一初始化并处理失败重试。 */
  }
}

/* 将机器时序应用于DM所在FDCAN1/3，保持轮电机FDCAN2的现有时序。 */
static void FDCAN_Config(void)
{
  Machine_Apply_Fdcan_Data_Timing(&hfdcan1);
  Machine_Apply_Fdcan_Data_Timing(&hfdcan3);
}
/* USER CODE END 0 */

int main(void)
{

  /* USER CODE BEGIN 1 */
  USB_Dma_Memory_Init();
  USB_Dma_MPU_Config();

  /* USER CODE END 1 */

  /* Enable the CPU Cache */

  /* Enable I-Cache---------------------------------------------------------*/
  SCB_EnableICache();

  /* Enable D-Cache---------------------------------------------------------*/
  SCB_EnableDCache();

  /* MCU Configuration--------------------------------------------------------*/

  /* Reset of all peripherals, Initializes the Flash interface and the Systick. */
  HAL_Init();

  /* Configure the system clock */
  SystemClock_Config();

  /* USER CODE BEGIN SysInit */
  Can_Bus_Reset_Hardware(); /* 清除跨固件下载后的FDCAN残留，必须先于三路MX初始化。 */
  /* USER CODE END SysInit */

  /* Initialize all configured peripherals */
  MX_GPIO_Init();
  MX_DMA_Init();
  MX_TIM12_Init();
  MX_SPI1_Init();
  MX_SPI6_Init();
  MX_SPI2_Init();
  MX_TIM3_Init();
  MX_USART1_UART_Init();
  MX_UART7_Init();
  MX_FDCAN1_Init();
  MX_FDCAN2_Init();
  MX_FDCAN3_Init();
  MX_TIM1_Init();
  MX_TIM2_Init();
  MX_UART9_Init();
  MX_TIM6_Init();
  MX_UART8_Init();
  MX_USART10_UART_Init();
  /* USER CODE BEGIN 2 */
  /* 外设句柄已生成：先更新机型时序，再启用各协议的接收缓存/回调。 */
  FDCAN_Config();
  Mono_Ns_Init();   /* 接收/发布时间使用的上电相对ns计数，与HAL毫秒时钟分开。 */
  DR16_Init();
  HI229_Init();
  Can_Bus_Init();
  // IMU_Init();       // BMI088 板载IMU (SPI2) —— 暂不使用
  Dji_Init();       // DJI电机 CAN回调注册
  Dm_Init();        // DM电机 CAN回调注册
  /* 设置这两路24V控制GPIO为现有初始电平；不以GPIO电平代替电机协议使能状态。 */
  HAL_GPIO_WritePin(GPIOC, POWER_24V_2_Pin|POWER_24V_1_Pin, GPIO_PIN_RESET);
  /* USER CODE END 2 */

  /* Call init function for freertos objects (in cmsis_os2.c) */
  MX_FREERTOS_Init();

  /* Start scheduler */
  osKernelStart();

  /* We should never get here as control is now taken by the scheduler */

  /* Infinite loop */
  /* USER CODE BEGIN WHILE */
  while (1)
  {
//	  vofa_start();

    /* USER CODE END WHILE */

  }
}

void SystemClock_Config(void)
{
  RCC_OscInitTypeDef RCC_OscInitStruct = {0};
  RCC_ClkInitTypeDef RCC_ClkInitStruct = {0};

  /** Supply configuration update enable
  */
  HAL_PWREx_ConfigSupply(PWR_LDO_SUPPLY);

  /** Configure the main internal regulator output voltage
  */
  __HAL_PWR_VOLTAGESCALING_CONFIG(PWR_REGULATOR_VOLTAGE_SCALE0);

  while(!__HAL_PWR_GET_FLAG(PWR_FLAG_VOSRDY)) {}

  /** Initializes the RCC Oscillators according to the specified parameters
  * in the RCC_OscInitTypeDef structure.
  */
  RCC_OscInitStruct.OscillatorType = RCC_OSCILLATORTYPE_HSI48|RCC_OSCILLATORTYPE_HSI
                              |RCC_OSCILLATORTYPE_HSE;
  RCC_OscInitStruct.HSEState = RCC_HSE_ON;
  RCC_OscInitStruct.HSIState = RCC_HSI_DIV1;
  RCC_OscInitStruct.HSICalibrationValue = 64;
  RCC_OscInitStruct.HSI48State = RCC_HSI48_ON;
  RCC_OscInitStruct.PLL.PLLState = RCC_PLL_ON;
  RCC_OscInitStruct.PLL.PLLSource = RCC_PLLSOURCE_HSE;
  RCC_OscInitStruct.PLL.PLLM = 3;
  RCC_OscInitStruct.PLL.PLLN = 68;
  RCC_OscInitStruct.PLL.PLLP = 1;
  RCC_OscInitStruct.PLL.PLLQ = 3;
  RCC_OscInitStruct.PLL.PLLR = 2;
  RCC_OscInitStruct.PLL.PLLRGE = RCC_PLL1VCIRANGE_3;
  RCC_OscInitStruct.PLL.PLLVCOSEL = RCC_PLL1VCOWIDE;
  RCC_OscInitStruct.PLL.PLLFRACN = 6144;
  if (HAL_RCC_OscConfig(&RCC_OscInitStruct) != HAL_OK)
  {
    Error_Handler();
  }

  /** Initializes the CPU, AHB and APB buses clocks
  */
  RCC_ClkInitStruct.ClockType = RCC_CLOCKTYPE_HCLK|RCC_CLOCKTYPE_SYSCLK
                              |RCC_CLOCKTYPE_PCLK1|RCC_CLOCKTYPE_PCLK2
                              |RCC_CLOCKTYPE_D3PCLK1|RCC_CLOCKTYPE_D1PCLK1;
  RCC_ClkInitStruct.SYSCLKSource = RCC_SYSCLKSOURCE_PLLCLK;
  RCC_ClkInitStruct.SYSCLKDivider = RCC_SYSCLK_DIV1;
  RCC_ClkInitStruct.AHBCLKDivider = RCC_HCLK_DIV2;
  RCC_ClkInitStruct.APB3CLKDivider = RCC_APB3_DIV2;
  RCC_ClkInitStruct.APB1CLKDivider = RCC_APB1_DIV2;
  RCC_ClkInitStruct.APB2CLKDivider = RCC_APB2_DIV2;
  RCC_ClkInitStruct.APB4CLKDivider = RCC_APB4_DIV2;

  if (HAL_RCC_ClockConfig(&RCC_ClkInitStruct, FLASH_LATENCY_3) != HAL_OK)
  {
    Error_Handler();
  }
  HAL_RCC_MCOConfig(RCC_MCO1, RCC_MCO1SOURCE_HSI, RCC_MCODIV_1);
}

void HAL_TIM_PeriodElapsedCallback(TIM_HandleTypeDef *htim)
{
  /* USER CODE BEGIN Callback 0 */
  /* 基础控制拍：中断只释放节拍，不在中断内运行LQR、推理或电机发送。 */
  if (htim->Instance == TIM6)
  {
    Mono_Ns_Tick();   /* 累计DWT周期，避免32位计数回绕丢失时间。 */
#if MACHINE_LATENCY_CAPTURE_ENABLE
    Latency_Tick(0u);
#endif
    osSemaphoreRelease(ctrl_tick_sem_handle);   /* 按机型配置的 TIM6 周期唤醒输出任务 */
    Policy_Tick_Div();                          /* 分频唤醒策略任务 */
  }
  /* USER CODE END Callback 0 */
  if (htim->Instance == TIM23)
  {
    HAL_IncTick();
  }
}

void Error_Handler(void)
{
  __disable_irq();
  while (1)
  {
  }
}

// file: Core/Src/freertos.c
/* USER CODE BEGIN Header */
/*
 * 创建后台、通信、IMU、策略推理、执行五个任务，并规定各自等待方式。
 * 执行任务优先级最高，等TIM6基础节拍；推理等分频节拍；其他任务轮询后osDelay。
 * 实际协议/控制代码在imcalib/task，入口循环只负责初始化、等待和调用。
 */
/**
  ******************************************************************************
  * File Name          : freertos.c
  * Description        : Code for freertos applications
  ******************************************************************************
  * @attention
  *
  * Copyright (c) 2024 STMicroelectronics.
  * All rights reserved.
  *
  * This software is licensed under terms that can be found in the LICENSE file
  * in the root directory of this software component.
  * If no LICENSE file comes with this software, it is provided AS-IS.
  *
  ******************************************************************************
  */
/* USER CODE END Header */

#include "FreeRTOS.h"
#include "task.h"
#include "main.h"
#include "cmsis_os.h"

/* USER CODE BEGIN Includes */
#include "robot_control.h"
#include "task_balance_mpc.h"
/* USER CODE END Includes */

/* USER CODE BEGIN Variables */
osThreadId balanceMpcTaskHandle;

/* USER CODE END Variables */
osThreadId defaultTaskHandle;
osThreadId commTaskHandle;
osThreadId imuTaskHandle;
osThreadId policyTaskHandle;
osThreadId actuationTaskHandle;

/* USER CODE BEGIN FunctionPrototypes */
void balanceMpcTask_Entry(void const *argument);

/* USER CODE END FunctionPrototypes */

void StartDefaultTask(void const * argument);
void commTask_Entry(void const * argument);
void imuTask_Entry(void const * argument);
void policyTask_Entry(void const * argument);
void actuationTask_Entry(void const * argument);

extern void MX_USB_DEVICE_Init(void);
void MX_FREERTOS_Init(void); /* (MISRA C 2004 rule 8.1) */

/* GetIdleTaskMemory prototype (linked to static allocation support) */
void vApplicationGetIdleTaskMemory( StaticTask_t **ppxIdleTaskTCBBuffer, StackType_t **ppxIdleTaskStackBuffer, uint32_t *pulIdleTaskStackSize );

/* GetTimerTaskMemory prototype (linked to static allocation support) */
void vApplicationGetTimerTaskMemory( StaticTask_t **ppxTimerTaskTCBBuffer, StackType_t **ppxTimerTaskStackBuffer, uint32_t *pulTimerTaskStackSize );

/* USER CODE BEGIN GET_IDLE_TASK_MEMORY */
static StaticTask_t xIdleTaskTCBBuffer;
static StackType_t xIdleStack[configMINIMAL_STACK_SIZE];

void vApplicationGetIdleTaskMemory( StaticTask_t **ppxIdleTaskTCBBuffer, StackType_t **ppxIdleTaskStackBuffer, uint32_t *pulIdleTaskStackSize )
{
  *ppxIdleTaskTCBBuffer = &xIdleTaskTCBBuffer;
  *ppxIdleTaskStackBuffer = &xIdleStack[0];
  *pulIdleTaskStackSize = configMINIMAL_STACK_SIZE;
  /* place for user code */
}
/* USER CODE END GET_IDLE_TASK_MEMORY */

/* USER CODE BEGIN GET_TIMER_TASK_MEMORY */
static StaticTask_t xTimerTaskTCBBuffer;
static StackType_t xTimerStack[configTIMER_TASK_STACK_DEPTH];

void vApplicationGetTimerTaskMemory( StaticTask_t **ppxTimerTaskTCBBuffer, StackType_t **ppxTimerTaskStackBuffer, uint32_t *pulTimerTaskStackSize )
{
  *ppxTimerTaskTCBBuffer = &xTimerTaskTCBBuffer;
  *ppxTimerTaskStackBuffer = &xTimerStack[0];
  *pulTimerTaskStackSize = configTIMER_TASK_STACK_DEPTH;
  /* place for user code */
}
/* USER CODE END GET_TIMER_TASK_MEMORY */

void MX_FREERTOS_Init(void) {

  /* USER CODE BEGIN RTOS_SEMAPHORES */
  /* 先创建TIM6要释放的两个信号量并清算法状态，之后才创建会启动TIM6的执行任务。 */
  Robot_Control_Init();
  /* USER CODE END RTOS_SEMAPHORES */

  /* Create the thread(s) */
  /* definition and creation of defaultTask */
  osThreadDef(defaultTask, StartDefaultTask, osPriorityNormal, 0, 512);
  defaultTaskHandle = osThreadCreate(osThread(defaultTask), NULL);

  /* definition and creation of commTask */
  osThreadDef(commTask, commTask_Entry, osPriorityAboveNormal, 0, 512);
  commTaskHandle = osThreadCreate(osThread(commTask), NULL);

  /* definition and creation of imuTask */
  osThreadDef(imuTask, imuTask_Entry, osPriorityHigh, 0, 512);
  imuTaskHandle = osThreadCreate(osThread(imuTask), NULL);

  /* definition and creation of policyTask */
  osThreadDef(policyTask, policyTask_Entry, osPriorityHigh, 0, 2048);
  policyTaskHandle = osThreadCreate(osThread(policyTask), NULL);

  /* definition and creation of actuationTask */
  osThreadDef(actuationTask, actuationTask_Entry, osPriorityRealtime, 0, 1024);
  actuationTaskHandle = osThreadCreate(osThread(actuationTask), NULL);

  /* USER CODE BEGIN RTOS_THREADS */
#if MACHINE_BALANCE_USE_MPC
  /* 实测High会与IMU/policy争用并饿死comm/VOFA，先退回Normal；
   * 如再试只能AboveNormal并验证输出路径。模型/工作数组静态分配。 */
  osThreadDef(balanceMpcTask,balanceMpcTask_Entry,osPriorityNormal,0,1024);
  balanceMpcTaskHandle=osThreadCreate(osThread(balanceMpcTask),NULL);
  Balance_MPC_Task_Ready((uint8_t)(balanceMpcTaskHandle!=NULL));
#endif
  /* add threads, ... */
  /* USER CODE END RTOS_THREADS */

}

void StartDefaultTask(void const * argument)
{
  /* init code for USB_DEVICE */
  MX_USB_DEVICE_Init();
  /* USER CODE BEGIN StartDefaultTask */
  /* Infinite loop */
  for(;;)
  {
    /* 后台诊断和灯效，每轮完成后让出5个OS tick；并非严格5ms周期调度。 */
    background_task_body();
    osDelay(5);
  }
  /* USER CODE END StartDefaultTask */
}

void commTask_Entry(void const * argument)
{
  /* USER CODE BEGIN commTask_Entry */
  for(;;)
  {
    /* 整理接收反馈、腿解算、故障和使能；让出1个OS tick后再轮询。 */
    comm_task_body();
    osDelay(1);
  }
  /* USER CODE END commTask_Entry */
}

void imuTask_Entry(void const * argument)
{
  /* USER CODE BEGIN imuTask_Entry */
  imu_task_init();
  for(;;)
  {
    /* 只处理HI229新样本；模块时间戳相同会直接返回，循环不代表新采样到达。 */
    imu_task_body();
    osDelay(1);
  }
  /* USER CODE END imuTask_Entry */
}

void policyTask_Entry(void const * argument)
{
  /* USER CODE BEGIN policyTask_Entry */
  ctrl_task_init();
  for(;;)
  {
    /* 等待TIM6每MACHINE_POLICY_DIV拍释放一次，再运行一帧网络推理。 */
    osSemaphoreWait(policy_tick_sem_handle, osWaitForever);
    ctrl_task_body();
    // osDelay(10);
  }
  /* USER CODE END policyTask_Entry */
}

void actuationTask_Entry(void const * argument)
{
  /* USER CODE BEGIN actuationTask_Entry */
  output_task_init();
  for(;;)
  {
    /* 每个TIM6基础节拍执行一次反馈→选路→算力矩→发送；不叠加osDelay。 */
    osSemaphoreWait(ctrl_tick_sem_handle, osWaitForever);
    output_task_body();
    // osDelay(1);
  }
  /* USER CODE END actuationTask_Entry */
}

/* USER CODE BEGIN Application */
void balanceMpcTask_Entry(void const *argument)
{
  (void)argument;
  TickType_t wake=xTaskGetTickCount();
  const TickType_t period=pdMS_TO_TICKS((uint32_t)(BALANCE_MPC_TS*1000.0f+0.5f)*BALANCE_MPC_SOLVE_DIV);
  for(;;)
  {
    balance_mpc_task_body();
    TickType_t now=xTaskGetTickCount();
    /* 250Hz：到下一释放点可立即取新快照；真正掉队仅让出1tick，
     * 不在计算结束后额外等待完整4ms，也不追赶旧快照。 */
    if((TickType_t)(now-wake)>period)
    {
      vTaskDelay(1u);
      wake=xTaskGetTickCount();
      continue;
    }
    vTaskDelayUntil(&wake,period);
  }
}

/* USER CODE END Application */
